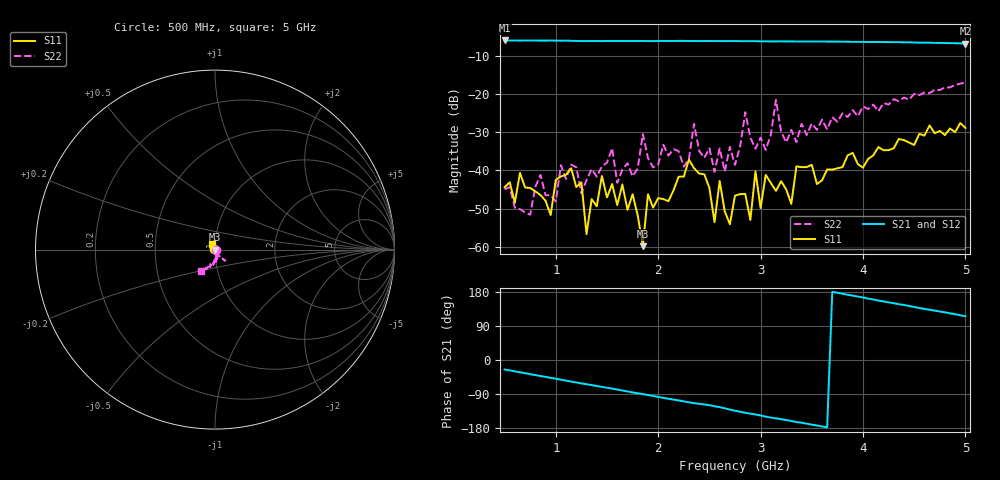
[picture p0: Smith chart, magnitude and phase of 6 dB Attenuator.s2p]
#  HZ  S  RI  R  50.00
! Rohde & Schwarz Vector Network Analyzer
! Rohde-Schwarz,ZNB20-4Port,1311601064101718,2.70
! Created: UTC 10/12/2016, 3:30:56 AM
! freq[Hz]  re:S11  im:S11  re:S21  im:S21  re:S12  im:S12  re:S22  im:S22
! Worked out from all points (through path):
!   91 points, 500 MHz to 5 GHz, reference 50 ohm
!   highest |S21| = -5.97 dB at 500 MHz (marker M1); lowest = -6.8 dB at 5 GHz (marker M2)
!   group delay of S21, straight-line fit = 135 ps
!   lowest |S11| = -59.8 dB at 1.85 GHz (marker M3), VSWR 1.00, Z = 50 - j0.0965 ohm
!   |S11| at or under -10 dB: start of sweep to end of sweep
!   |S22| runs from -51.6 to -16.9 dB; largest |S21 - S12| = 0.027
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5e8  -0.00459 0.00393  0.4556 -0.2132  0.4548 -0.2102  0.00489 -0.00286
1.25e9  0.00623 -0.00317  0.2341 -0.4352  0.2359 -0.4325  -0.00328 -0.00381
1.3e9  -0.00138 0.000509  0.2175 -0.4433  0.2186 -0.4412  0.0066 -0.00349
1.45e9  0.00792 0.00304  0.1604 -0.4669  0.1641 -0.4639  0.00966 -0.00583
1.75e9  -0.00338 0.00353  0.0383 -0.4931  0.0486 -0.4896  0.00523 -0.00658
1.85e9  0.000338 -0.000964  -0.00116 -0.496  0.00507 -0.4928  0.0207 -0.0217
1.9e9  0.00249 -0.00419  -0.0193 -0.4933  -0.0144 -0.4928  0.00758 -0.0124
2e9  0.00347 -0.00263  -0.0634 -0.4909  -0.0577 -0.4908  0.00627 -0.0103
2.35e9  0.0103 -0.00288  -0.2007 -0.452  -0.1976 -0.4516  0.0165 -0.0373
2.55e9  -0.00134 -0.00162  -0.2626 -0.4187  -0.28 -0.4032  0.00873 -0.00405
2.6e9  0.00394 -0.00613  -0.2786 -0.4083  -0.2979 -0.3899  0.00872 -0.0174
2.7e9  0.00102 -0.0017  -0.3233 -0.3739  -0.3255 -0.3652  0.0105 -0.0174
2.75e9  -0.00309 0.00351  -0.3422 -0.3563  -0.3371 -0.3548  0.00704 -0.00948
2.85e9  0.0026 0.00421  -0.3721 -0.3216  -0.3622 -0.3296  0.000818 -0.0577
2.9e9  0.00212 -0.000737  -0.3854 -0.3053  -0.3766 -0.3116  0.0129 -0.0235
2.95e9  -0.00392 0.00889  -0.3975 -0.2897  -0.3895 -0.2954  0.0122 -0.015
3e9  -0.00288 -0.00145  -0.4079 -0.2726  -0.4018 -0.2783  0.0135 -0.0233
3.15e9  -0.00514 0.00167  -0.4393 -0.2143  -0.4319 -0.2285  0.0569 -0.0618
3.25e9  -0.00286 0.00488  -0.4541 -0.1801  -0.4489 -0.1906  0.0105 -0.0208
3.5e9  -0.00723 -0.0094  -0.4808 -0.0802  -0.4764 -0.0888  0.0144 -0.0386
4.25e9  -0.0154 0.0102  -0.4233 0.2241  -0.4281 0.2111  -0.0105 -0.0721
5e9  -0.0181 0.0311  -0.1977 0.414  -0.203 0.4083  -0.0804 -0.1177
